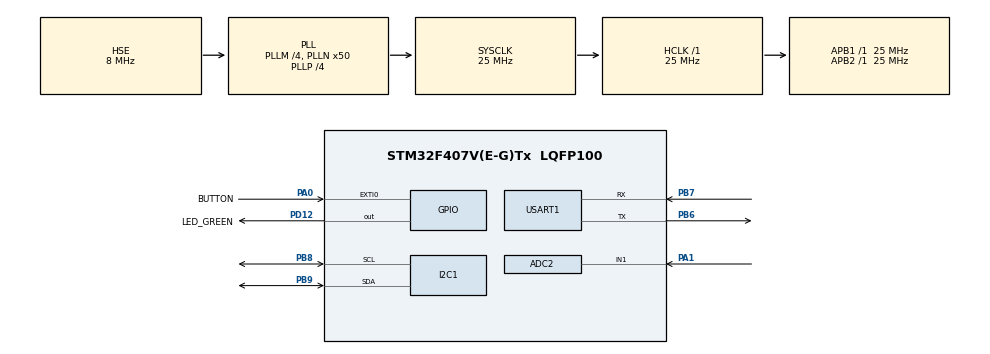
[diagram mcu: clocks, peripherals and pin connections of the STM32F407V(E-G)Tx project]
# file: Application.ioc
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ADC2.Channel-1\#ChannelRegularConversion=ADC_CHANNEL_1
ADC2.NbrOfConversionFlag=1
ADC2.Rank-1\#ChannelRegularConversion=1
ADC2.SamplingTime-1\#ChannelRegularConversion=ADC_SAMPLETIME_3CYCLES
Dma.Request0=USART1_RX
Dma.USART1_RX.0.Direction=DMA_PERIPH_TO_MEMORY
Dma.USART1_RX.0.FIFOMode=DMA_FIFOMODE_DISABLE
Dma.USART1_RX.0.Instance=DMA2_Stream2
Dma.USART1_RX.0.MemDataAlignment=DMA_MDATAALIGN_BYTE
Dma.USART1_RX.0.MemInc=DMA_MINC_ENABLE
Dma.USART1_RX.0.Mode=DMA_NORMAL
Dma.USART1_RX.0.PeriphDataAlignment=DMA_PDATAALIGN_BYTE
Dma.USART1_RX.0.PeriphInc=DMA_PINC_DISABLE
Dma.USART1_RX.0.Priority=DMA_PRIORITY_LOW
FREERTOS.Tasks01=MonitoringTask,-2,256,monitoring_task,Default,NULL,Dynamic,NULL,NULL;TelemetryTask,0,1024,telemetry_task,Default,NULL,Dynamic,NULL,NULL;UpdateTask,0,256,update_task,Default,NULL,Dynamic,NULL,NULL
FREERTOS.configUSE_NEWLIB_REENTRANT=1
IWDG.Prescaler=IWDG_PRESCALER_256
IWDG.Reload=1250
Mcu.Family=STM32F4
Mcu.Name=STM32F407V(E-G)Tx
Mcu.Package=LQFP100
NVIC.DMA2_Stream2_IRQn=true\:5\:0\:false\:false\:true\:true\:false\:true\:true
NVIC.EXTI0_IRQn=true\:5\:0\:false\:false\:true\:true\:true\:true\:true
NVIC.PriorityGroup=NVIC_PRIORITYGROUP_4
NVIC.RTC_WKUP_IRQn=true\:5\:0\:false\:false\:true\:true\:true\:true\:true
NVIC.TIM1_UP_TIM10_IRQn=true\:15\:0\:false\:false\:true\:false\:false\:true\:true
NVIC.TimeBase=TIM1_UP_TIM10_IRQn
NVIC.TimeBaseIP=TIM1
NVIC.USART1_IRQn=true\:5\:0\:false\:false\:true\:true\:true\:true\:true
PA0-WKUP.GPIO_Label=BUTTON
PA0-WKUP.GPIO_ModeDefaultEXTI=GPIO_MODE_IT_FALLING
PA0-WKUP.GPIO_PuPd=GPIO_NOPULL
PA0-WKUP.Signal=GPXTI0
PA1.Signal=ADCx_IN1
PA13.Mode=Serial_Wire
PA13.Signal=SYS_JTMS-SWDIO
PA14.Mode=Serial_Wire
PA14.Signal=SYS_JTCK-SWCLK
PB6.Mode=Asynchronous
PB6.Signal=USART1_TX
PB7.Mode=Asynchronous
PB7.Signal=USART1_RX
PB8.Mode=I2C
PB8.Signal=I2C1_SCL
PB9.Mode=I2C
PB9.Signal=I2C1_SDA
PC14-OSC32_IN.Mode=LSE-External-Oscillator
PC14-OSC32_IN.Signal=RCC_OSC32_IN
PC15-OSC32_OUT.Mode=LSE-External-Oscillator
PC15-OSC32_OUT.Signal=RCC_OSC32_OUT
PD12.GPIO_Label=LED_GREEN
PD12.Signal=GPIO_Output
PH0-OSC_IN.Mode=HSE-External-Oscillator
PH0-OSC_IN.Signal=RCC_OSC_IN
PH1-OSC_OUT.Mode=HSE-External-Oscillator
PH1-OSC_OUT.Signal=RCC_OSC_OUT
ProjectManager.HeapSize=0x200
ProjectManager.StackSize=0x400
ProjectManager.TargetToolchain=STM32CubeIDE
RCC.48MHZClocksFreq_Value=14285714.285714285
RCC.AHBFreq_Value=25000000
RCC.APB1Freq_Value=25000000
RCC.APB1TimFreq_Value=25000000
RCC.APB2Freq_Value=25000000
RCC.APB2TimFreq_Value=25000000
RCC.CortexFreq_Value=25000000
RCC.HCLKFreq_Value=25000000
RCC.HSE_VALUE=8000000
RCC.HSI_VALUE=16000000
RCC.PLLM=4
RCC.PLLN=50
RCC.PLLP=RCC_PLLP_DIV4
RCC.PLLQ=7
RCC.PLLSourceVirtual=RCC_PLLSOURCE_HSE
RCC.RCC_RTC_Clock_Source=RCC_RTCCLKSOURCE_LSI
RCC.RCC_RTC_Clock_SourceVirtual=RCC_RTCCLKSOURCE_LSE
RCC.SYSCLKFreq_VALUE=25000000
RCC.SYSCLKSource=RCC_SYSCLKSOURCE_PLLCLK
RCC.VCOOutputFreq_Value=100000000
SH.ADCx_IN1.0=ADC2_IN1,IN1
USART1.VirtualMode=VM_ASYNC
VP_CRC_VS_CRC.Mode=CRC_Activate
VP_FREERTOS_VS_CMSIS_V1.Mode=CMSIS_V1
VP_IWDG_VS_IWDG.Mode=IWDG_Activate
VP_RTC_VS_RTC_Activate.Mode=RTC_Enabled
VP_RTC_VS_RTC_WakeUp_intern.Mode=WakeUp
VP_SYS_VS_tim1.Mode=TIM1
board=STM32F407G-DISC1

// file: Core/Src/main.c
/* USER CODE BEGIN Header */
/**
  ******************************************************************************
  * @file           : main.c
  * @brief          : Main program body
  ******************************************************************************
  * @attention
  *
  * Copyright (c) 2026 STMicroelectronics.
  * All rights reserved.
  *
  * This software is licensed under terms that can be found in the LICENSE file
  * in the root directory of this software component.
  * If no LICENSE file comes with this software, it is provided AS-IS.
  *
  ******************************************************************************
  */
/* USER CODE END Header */
#include "main.h"
#include "cmsis_os.h"
#include "adc.h"
#include "crc.h"
#include "dma.h"
#include "i2c.h"
#include "iwdg.h"
#include "rtc.h"
#include "usart.h"
#include "gpio.h"

/* USER CODE BEGIN Includes */
#include <stdio.h>
#include <stdint.h>
/* USER CODE END Includes */

/* USER CODE BEGIN PD */
#define DEBUG_WAIT_MS		10
/* USER CODE END PD */

/* USER CODE BEGIN PV */
extern DMA_HandleTypeDef hdma_usart1_rx;

extern osThreadId UpdateTaskHandle;
extern osThreadId MonitoringTaskHandle;
extern osThreadId TelemetryTaskHandle;

extern osMutexId debugMutexHandle;
/* USER CODE END PV */

void SystemClock_Config(void);
void MX_FREERTOS_Init(void);
/* USER CODE BEGIN PFP */
__inline static void vector_table_app(void);
/* USER CODE END PFP */

/* USER CODE BEGIN 0 */
struct fw_version_s
{
	uint8_t major;
	uint8_t minor;
	uint8_t version;
	uint8_t reserve;
} fw_version __attribute__ ((section(".fw_version"))) = {
		.major = 0,
		.minor = 1,
		.version = 0,
		.reserve = 0
};

uint8_t fw_size[4] __attribute__ ((section(".fw_size"), aligned(4))) = {0x00};
uint8_t signature[32] __attribute__ ((section(".fw_signature")))= {0x00};

/* USER CODE END 0 */

int main(void)
{

  /* MCU Configuration--------------------------------------------------------*/

  /* Reset of all peripherals, Initializes the Flash interface and the Systick. */
  HAL_Init();

  /* USER CODE BEGIN Init */
  vector_table_app();
  /* USER CODE END Init */

  /* Configure the system clock */
  SystemClock_Config();

  /* Initialize all configured peripherals */
  MX_GPIO_Init();
  MX_DMA_Init();
  MX_CRC_Init();
  MX_USART1_UART_Init();
  MX_IWDG_Init();
  MX_ADC2_Init();
  MX_I2C1_Init();
  MX_RTC_Init();
  /* USER CODE BEGIN 2 */
  printf("Start Application...\r\n");
  printf("version: %u.%u.%u\r\n", fw_version.major,fw_version.minor,fw_version.version);
  HAL_RTCEx_DeactivateWakeUpTimer(&hrtc);

  HAL_DBGMCU_EnableDBGStopMode();
  /* USER CODE END 2 */

  /* Call init function for freertos objects (in cmsis_os2.c) */
  MX_FREERTOS_Init();

  /* Start scheduler */
  osKernelStart();

  /* We should never get here as control is now taken by the scheduler */

  /* Infinite loop */
  while (1)
  {

  }
}

void SystemClock_Config(void)
{
  RCC_OscInitTypeDef RCC_OscInitStruct = {0};
  RCC_ClkInitTypeDef RCC_ClkInitStruct = {0};

  /** Configure the main internal regulator output voltage
  */
  __HAL_RCC_PWR_CLK_ENABLE();
  __HAL_PWR_VOLTAGESCALING_CONFIG(PWR_REGULATOR_VOLTAGE_SCALE1);

  /** Initializes the RCC Oscillators according to the specified parameters
  * in the RCC_OscInitTypeDef structure.
  */
  RCC_OscInitStruct.OscillatorType = RCC_OSCILLATORTYPE_LSI|RCC_OSCILLATORTYPE_HSE;
  RCC_OscInitStruct.HSEState = RCC_HSE_ON;
  RCC_OscInitStruct.LSIState = RCC_LSI_ON;
  RCC_OscInitStruct.PLL.PLLState = RCC_PLL_ON;
  RCC_OscInitStruct.PLL.PLLSource = RCC_PLLSOURCE_HSE;
  RCC_OscInitStruct.PLL.PLLM = 4;
  RCC_OscInitStruct.PLL.PLLN = 50;
  RCC_OscInitStruct.PLL.PLLP = RCC_PLLP_DIV4;
  RCC_OscInitStruct.PLL.PLLQ = 7;
  if (HAL_RCC_OscConfig(&RCC_OscInitStruct) != HAL_OK)
  {
    Error_Handler();
  }

  /** Initializes the CPU, AHB and APB buses clocks
  */
  RCC_ClkInitStruct.ClockType = RCC_CLOCKTYPE_HCLK|RCC_CLOCKTYPE_SYSCLK
                              |RCC_CLOCKTYPE_PCLK1|RCC_CLOCKTYPE_PCLK2;
  RCC_ClkInitStruct.SYSCLKSource = RCC_SYSCLKSOURCE_PLLCLK;
  RCC_ClkInitStruct.AHBCLKDivider = RCC_SYSCLK_DIV1;
  RCC_ClkInitStruct.APB1CLKDivider = RCC_HCLK_DIV1;
  RCC_ClkInitStruct.APB2CLKDivider = RCC_HCLK_DIV1;

  if (HAL_RCC_ClockConfig(&RCC_ClkInitStruct, FLASH_LATENCY_0) != HAL_OK)
  {
    Error_Handler();
  }
}

/* USER CODE BEGIN 4 */

int _write(int file, char *ptr, int len)
{
	if (debugMutexHandle != NULL) {
	      osMutexWait(debugMutexHandle, DEBUG_WAIT_MS);
	  }

	  for (int i = 0; i < len; i++)
	  {
	    ITM_SendChar((*ptr++));
	  }

	  if (debugMutexHandle != NULL) {
	      osMutexRelease(debugMutexHandle);
	  }
	  return len;
}

__inline static void vector_table_app(void)
{
	SCB->VTOR = APPLICATION_START_ADDRESS + VEC_OFFSET;
	__enable_irq();
}

void HAL_GPIO_EXTI_Callback(uint16_t GPIO_Pin)
{
	if(GPIO_Pin == BUTTON_Pin)
	{

		osSignalSet(UpdateTaskHandle, UPDATE_SIGNAL);

	}
}

void HAL_UARTEx_RxEventCallback(UART_HandleTypeDef *huart, uint16_t Size)
{
    if (huart->Instance == USART1)
    {
        if (TelemetryTaskHandle != NULL)
        {
            osSignalSet(TelemetryTaskHandle, UART_SIGNAL);
        }
    }
}

void HAL_UART_ErrorCallback(UART_HandleTypeDef *huart)
{
    if (huart->Instance == USART1)
    {
        HAL_UARTEx_ReceiveToIdle_DMA(huart, uart_rx_buf, UART_SIZE);
        __HAL_DMA_DISABLE_IT(&hdma_usart1_rx, DMA_IT_HT);
    }
}

void HAL_RTCEx_WakeUpTimerEventCallback(RTC_HandleTypeDef *hrtc)
{
//	HAL_PWR_EnableSleepOnExit();
	HAL_IWDG_Refresh(&hiwdg);
}

void re_init_uart(void)
{
	HAL_NVIC_DisableIRQ(EXTI9_5_IRQn);
	__HAL_GPIO_EXTI_CLEAR_IT(GPIO_PIN_7);

	MX_DMA_Init();
	MX_USART1_UART_Init();
	__HAL_UART_CLEAR_OREFLAG(&huart1);
	__HAL_UART_CLEAR_NEFLAG(&huart1);
	__HAL_UART_CLEAR_FEFLAG(&huart1);
}
/* USER CODE END 4 */

void HAL_TIM_PeriodElapsedCallback(TIM_HandleTypeDef *htim)
{
  if (htim->Instance == TIM1)
  {
    HAL_IncTick();
  }
}

void Error_Handler(void)
{
  __disable_irq();
  while (1)
  {
  }
}

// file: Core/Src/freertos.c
/* USER CODE BEGIN Header */
/**
  ******************************************************************************
  * File Name          : freertos.c
  * Description        : Code for freertos applications
  ******************************************************************************
  * @attention
  *
  * Copyright (c) 2026 STMicroelectronics.
  * All rights reserved.
  *
  * This software is licensed under terms that can be found in the LICENSE file
  * in the root directory of this software component.
  * If no LICENSE file comes with this software, it is provided AS-IS.
  *
  ******************************************************************************
  */
/* USER CODE END Header */

#include "FreeRTOS.h"
#include "task.h"
#include "main.h"
#include "cmsis_os.h"

/* USER CODE BEGIN Includes */
#include "task_process.h"
#include "usart.h"
#include "iwdg.h"
#include <stdio.h>
/* USER CODE END Includes */

/* USER CODE BEGIN Variables */
extern uint8_t uart_rx_buf[UART_SIZE];

osMutexId debugMutexHandle;
/* USER CODE END Variables */
osThreadId MonitoringTaskHandle;
osThreadId TelemetryTaskHandle;
osThreadId UpdateTaskHandle;

void monitoring_task(void const * argument);
void telemetry_task(void const * argument);
void update_task(void const * argument);

void MX_FREERTOS_Init(void); /* (MISRA C 2004 rule 8.1) */

/* GetIdleTaskMemory prototype (linked to static allocation support) */
void vApplicationGetIdleTaskMemory( StaticTask_t **ppxIdleTaskTCBBuffer, StackType_t **ppxIdleTaskStackBuffer, uint32_t *pulIdleTaskStackSize );

/* USER CODE BEGIN GET_IDLE_TASK_MEMORY */
static StaticTask_t xIdleTaskTCBBuffer;
static StackType_t xIdleStack[configMINIMAL_STACK_SIZE];

void vApplicationGetIdleTaskMemory( StaticTask_t **ppxIdleTaskTCBBuffer, StackType_t **ppxIdleTaskStackBuffer, uint32_t *pulIdleTaskStackSize )
{
  *ppxIdleTaskTCBBuffer = &xIdleTaskTCBBuffer;
  *ppxIdleTaskStackBuffer = &xIdleStack[0];
  *pulIdleTaskStackSize = configMINIMAL_STACK_SIZE;
  /* place for user code */
}
/* USER CODE END GET_IDLE_TASK_MEMORY */

void MX_FREERTOS_Init(void) {

  /* USER CODE BEGIN RTOS_MUTEX */
	osMutexDef(debugMutex);
	debugMutexHandle = osMutexCreate(osMutex(debugMutex));
  /* add mutexes, ... */
  /* USER CODE END RTOS_MUTEX */

  /* Create the thread(s) */
  /* definition and creation of MonitoringTask */
  osThreadDef(MonitoringTask, monitoring_task, osPriorityLow, 0, 256);
  MonitoringTaskHandle = osThreadCreate(osThread(MonitoringTask), NULL);

  /* definition and creation of TelemetryTask */
  osThreadDef(TelemetryTask, telemetry_task, osPriorityNormal, 0, 1024);
  TelemetryTaskHandle = osThreadCreate(osThread(TelemetryTask), NULL);

  /* definition and creation of UpdateTask */
  osThreadDef(UpdateTask, update_task, osPriorityNormal, 0, 256);
  UpdateTaskHandle = osThreadCreate(osThread(UpdateTask), NULL);

}

void monitoring_task(void const * argument)
{
  /* USER CODE BEGIN monitoring_task */
  /* Infinite loop */
	task_monitoring_process();
  /* USER CODE END monitoring_task */
}

void telemetry_task(void const * argument)
{
  /* USER CODE BEGIN telemetry_task */
  /* Infinite loop */
	task_telemetry_process();
  /* USER CODE END telemetry_task */
}

void update_task(void const * argument)
{
  /* USER CODE BEGIN update_task */
	/* USER CODE BEGIN Private defines */

  /* Infinite loop */
	task_update_process();
  /* USER CODE END update_task */
}
